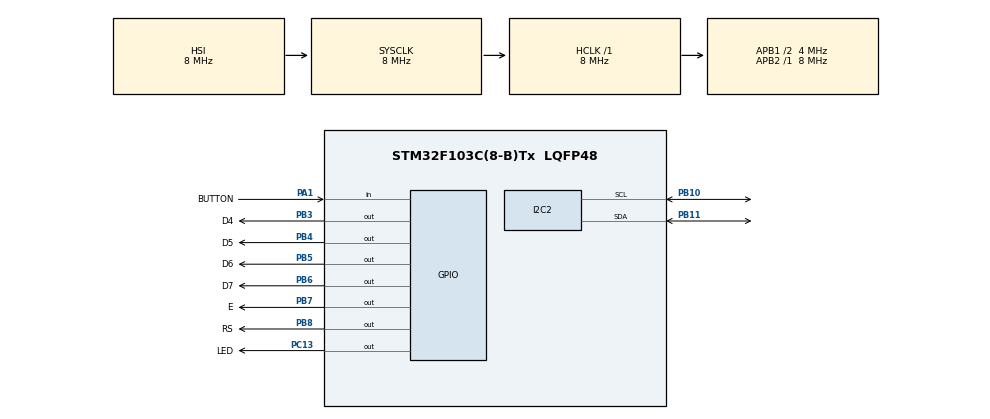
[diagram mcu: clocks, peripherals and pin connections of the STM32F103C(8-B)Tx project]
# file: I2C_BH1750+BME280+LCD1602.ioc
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I2C2.DualAddressMode=I2C_DUALADDRESS_DISABLE
Mcu.Family=STM32F1
Mcu.Name=STM32F103C(8-B)Tx
Mcu.Package=LQFP48
NVIC.I2C2_ER_IRQn=true\:0\:0\:false\:false\:true\:true\:true\:true
NVIC.I2C2_EV_IRQn=true\:0\:0\:false\:false\:true\:true\:true\:true
NVIC.PriorityGroup=NVIC_PRIORITYGROUP_4
NVIC.TIM1_UP_IRQn=true\:0\:0\:false\:false\:true\:true\:true\:true
PA1.GPIO_Label=BUTTON
PA1.GPIO_PuPd=GPIO_PULLUP
PA1.Signal=GPIO_Input
PA13.Mode=Serial_Wire
PA13.Signal=SYS_JTMS-SWDIO
PA14.Mode=Serial_Wire
PA14.Signal=SYS_JTCK-SWCLK
PB10.Mode=I2C
PB10.Signal=I2C2_SCL
PB11.Mode=I2C
PB11.Signal=I2C2_SDA
PB3.GPIO_Label=D4
PB3.Signal=GPIO_Output
PB4.GPIO_Label=D5
PB4.Signal=GPIO_Output
PB5.GPIO_Label=D6
PB5.Signal=GPIO_Output
PB6.GPIO_Label=D7
PB6.Signal=GPIO_Output
PB7.GPIO_Label=E
PB7.Signal=GPIO_Output
PB8.GPIO_Label=RS
PB8.Signal=GPIO_Output
PC13-TAMPER-RTC.GPIO_Label=LED
PC13-TAMPER-RTC.Signal=GPIO_Output
ProjectManager.HeapSize=0x200
ProjectManager.StackSize=0x400
ProjectManager.TargetToolchain=STM32CubeIDE
RCC.AHBFreq_Value=8000000
RCC.APB1CLKDivider=RCC_HCLK_DIV2
RCC.APB1Freq_Value=4000000
RCC.APB1TimFreq_Value=8000000
RCC.APB2Freq_Value=8000000
RCC.APB2TimFreq_Value=8000000
RCC.HCLKFreq_Value=8000000
RCC.PLLMUL=RCC_PLL_MUL12
RCC.SYSCLKFreq_VALUE=8000000
RCC.USBFreq_Value=48000000
TIM1.Period=30000
TIM1.Prescaler=79
VP_TIM1_VS_ClockSourceINT.Mode=Internal
board=custom

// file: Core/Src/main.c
/* USER CODE BEGIN Header */

/* USER CODE END Header */
#include "main.h"

I2C_HandleTypeDef hi2c2;

TIM_HandleTypeDef htim1;

/* USER CODE BEGIN PV */
volatile uint8_t page_num = 0;		// Счётчик нажатий и страницы соответственно
static char str1[20] ={};
/* USER CODE END PV */

void SystemClock_Config(void);
static void MX_GPIO_Init(void);
static void MX_I2C2_Init(void);
static void MX_TIM1_Init(void);

/* USER CODE BEGIN 0 */

/*
 	 Схема данного проекта:
 	 1. Кнопка подключенная к А1, другой конец к земле. Кнопка перелистывает страницы
 	 2. Датчик BME280 и BH1750 подключены к одному I2C2 - PB11, PB10.
 	 3. LCD экран 1602 подлкюченный по схеме согласно кубу, см. куб.

 	 Работает программа так: Перед суперциклом запускается таймер и каждые 0,3 сек проверяет состояние кнопки на PA1
 	 Если она нажата то в колбэке таймера увеличивается переменная страницы и в основном цикле мы заходим в другую ветку
 	 switch case, отображая другую информацию. Таких страниц 4 - от 0 до 3. Переключение круговое, т.е когда дойдём до
 	 последней страницы и нажмём кнопку на перейти на следующую, мы перейдём в начало, на 0-ую страницу
 */

void HAL_TIM_PeriodElapsedCallback(TIM_HandleTypeDef *htim1)	// Попали сюда если таймер насчитал 0,3 сек
{
	if(HAL_GPIO_ReadPin(BUTTON_GPIO_Port, BUTTON_Pin) == GPIO_PIN_RESET)
	{
		page_num++;		// Если все ещё устойчивый лог. увроень, то считаем что это не дребезг
	}
}

void printTemperature(float temp)
{
	  sprintf(str1, "T: %.3f", temp);
	  LCD_SetPos(0, 0);
	  LCD_SendString(str1);
}
void printPressure(float pres, float altitude)
{
	  sprintf(str1, "P: %.3f mm", pres * 0.000750061683f);
	  LCD_SetPos(0, 0);
	  LCD_SendString(str1);
	  sprintf(str1, "Altit: %.3f m", altitude);
	  LCD_SetPos(0, 1);
	  LCD_SendString(str1);
	  /*	Завернули в строку сначала в формате мм. рт. ст. а потом в формате высоты над уровнем моря	*/
}
void printHumidity(float hum)
{
	sprintf(str1, "Humid: %.3f %%", hum);
	LCD_SetPos(0, 0);
	LCD_SendString(str1);
}
void printIllumination(unsigned int lux)
{
	sprintf(str1, "Illum: %d lux", lux);
	LCD_SetPos(0, 0);
	LCD_SendString(str1);
}
/* USER CODE END 0 */

int main(void)
{

  /* MCU Configuration--------------------------------------------------------*/

  /* Reset of all peripherals, Initializes the Flash interface and the Systick. */
  HAL_Init();

  /* Configure the system clock */
  SystemClock_Config();

  /* Initialize all configured peripherals */
  MX_GPIO_Init();
  MX_I2C2_Init();
  MX_TIM1_Init();
  /* USER CODE BEGIN 2 */
  LCD_ini();
  LCD_Clear();

  BME280_init();
  HAL_Delay(1000);

  HAL_TIM_Base_Start_IT(&htim1);	// Запустили таймер, который сработает через 0,3 сек

  /* USER CODE END 2 */

  /* Infinite loop */
  while (1)
  {

    /* USER CODE BEGIN 3 */

	  switch (page_num) {
		case PAGE_0:
//			  printTemperature( BME280_readTemp() );
			break;

		case PAGE_1:
			  printPressure( BME280_readPress(), BME280_ReadAltitude(SEALEVELPRESSURE_PA) );
			break;

		case PAGE_2:
			printHumidity( BME280_readHum() );
			break;

		case PAGE_3:
			printIllumination( BH1750_ReadLux() );
			break;
	  }
	  HAL_Delay(1000);
	  LCD_Clear();
	  if(page_num > 3) page_num = 0;		// Возврат к первой странице
  }
  /* USER CODE END 3 */
}

void SystemClock_Config(void)
{
  RCC_OscInitTypeDef RCC_OscInitStruct = {0};
  RCC_ClkInitTypeDef RCC_ClkInitStruct = {0};

  /** Initializes the RCC Oscillators according to the specified parameters
  * in the RCC_OscInitTypeDef structure.
  */
  RCC_OscInitStruct.OscillatorType = RCC_OSCILLATORTYPE_HSI;
  RCC_OscInitStruct.HSIState = RCC_HSI_ON;
  RCC_OscInitStruct.HSICalibrationValue = RCC_HSICALIBRATION_DEFAULT;
  RCC_OscInitStruct.PLL.PLLState = RCC_PLL_NONE;
  if (HAL_RCC_OscConfig(&RCC_OscInitStruct) != HAL_OK)
  {
    Error_Handler();
  }

  /** Initializes the CPU, AHB and APB buses clocks
  */
  RCC_ClkInitStruct.ClockType = RCC_CLOCKTYPE_HCLK|RCC_CLOCKTYPE_SYSCLK
                              |RCC_CLOCKTYPE_PCLK1|RCC_CLOCKTYPE_PCLK2;
  RCC_ClkInitStruct.SYSCLKSource = RCC_SYSCLKSOURCE_HSI;
  RCC_ClkInitStruct.AHBCLKDivider = RCC_SYSCLK_DIV1;
  RCC_ClkInitStruct.APB1CLKDivider = RCC_HCLK_DIV2;
  RCC_ClkInitStruct.APB2CLKDivider = RCC_HCLK_DIV1;

  if (HAL_RCC_ClockConfig(&RCC_ClkInitStruct, FLASH_LATENCY_0) != HAL_OK)
  {
    Error_Handler();
  }
}

static void MX_I2C2_Init(void)
{

  hi2c2.Instance = I2C2;
  hi2c2.Init.ClockSpeed = 100000;
  hi2c2.Init.DutyCycle = I2C_DUTYCYCLE_2;
  hi2c2.Init.OwnAddress1 = 0;
  hi2c2.Init.AddressingMode = I2C_ADDRESSINGMODE_7BIT;
  hi2c2.Init.DualAddressMode = I2C_DUALADDRESS_DISABLE;
  hi2c2.Init.OwnAddress2 = 0;
  hi2c2.Init.GeneralCallMode = I2C_GENERALCALL_DISABLE;
  hi2c2.Init.NoStretchMode = I2C_NOSTRETCH_DISABLE;
  if (HAL_I2C_Init(&hi2c2) != HAL_OK)
  {
    Error_Handler();
  }

}

static void MX_TIM1_Init(void)
{

  TIM_ClockConfigTypeDef sClockSourceConfig = {0};
  TIM_MasterConfigTypeDef sMasterConfig = {0};

  htim1.Instance = TIM1;
  htim1.Init.Prescaler = 79;
  htim1.Init.CounterMode = TIM_COUNTERMODE_UP;
  htim1.Init.Period = 30000;
  htim1.Init.ClockDivision = TIM_CLOCKDIVISION_DIV1;
  htim1.Init.RepetitionCounter = 0;
  htim1.Init.AutoReloadPreload = TIM_AUTORELOAD_PRELOAD_DISABLE;
  if (HAL_TIM_Base_Init(&htim1) != HAL_OK)
  {
    Error_Handler();
  }
  sClockSourceConfig.ClockSource = TIM_CLOCKSOURCE_INTERNAL;
  if (HAL_TIM_ConfigClockSource(&htim1, &sClockSourceConfig) != HAL_OK)
  {
    Error_Handler();
  }
  sMasterConfig.MasterOutputTrigger = TIM_TRGO_RESET;
  sMasterConfig.MasterSlaveMode = TIM_MASTERSLAVEMODE_DISABLE;
  if (HAL_TIMEx_MasterConfigSynchronization(&htim1, &sMasterConfig) != HAL_OK)
  {
    Error_Handler();
  }

}

static void MX_GPIO_Init(void)
{
  GPIO_InitTypeDef GPIO_InitStruct = {0};

  /* GPIO Ports Clock Enable */
  __HAL_RCC_GPIOC_CLK_ENABLE();
  __HAL_RCC_GPIOA_CLK_ENABLE();
  __HAL_RCC_GPIOB_CLK_ENABLE();

  /*Configure GPIO pin Output Level */
  HAL_GPIO_WritePin(LED_GPIO_Port, LED_Pin, GPIO_PIN_RESET);

  /*Configure GPIO pin Output Level */
  HAL_GPIO_WritePin(GPIOB, D4_Pin|D5_Pin|D6_Pin|D7_Pin
                          |E_Pin|RS_Pin, GPIO_PIN_RESET);

  /*Configure GPIO pin : LED_Pin */
  GPIO_InitStruct.Pin = LED_Pin;
  GPIO_InitStruct.Mode = GPIO_MODE_OUTPUT_PP;
  GPIO_InitStruct.Pull = GPIO_NOPULL;
  GPIO_InitStruct.Speed = GPIO_SPEED_FREQ_LOW;
  HAL_GPIO_Init(LED_GPIO_Port, &GPIO_InitStruct);

  /*Configure GPIO pin : BUTTON_Pin */
  GPIO_InitStruct.Pin = BUTTON_Pin;
  GPIO_InitStruct.Mode = GPIO_MODE_INPUT;
  GPIO_InitStruct.Pull = GPIO_PULLUP;
  HAL_GPIO_Init(BUTTON_GPIO_Port, &GPIO_InitStruct);

  /*Configure GPIO pins : D4_Pin D5_Pin D6_Pin D7_Pin
                           E_Pin RS_Pin */
  GPIO_InitStruct.Pin = D4_Pin|D5_Pin|D6_Pin|D7_Pin
                          |E_Pin|RS_Pin;
  GPIO_InitStruct.Mode = GPIO_MODE_OUTPUT_PP;
  GPIO_InitStruct.Pull = GPIO_NOPULL;
  GPIO_InitStruct.Speed = GPIO_SPEED_FREQ_LOW;
  HAL_GPIO_Init(GPIOB, &GPIO_InitStruct);

}

void Error_Handler(void)
{
  __disable_irq();
  while (1)
  {
  }
}
